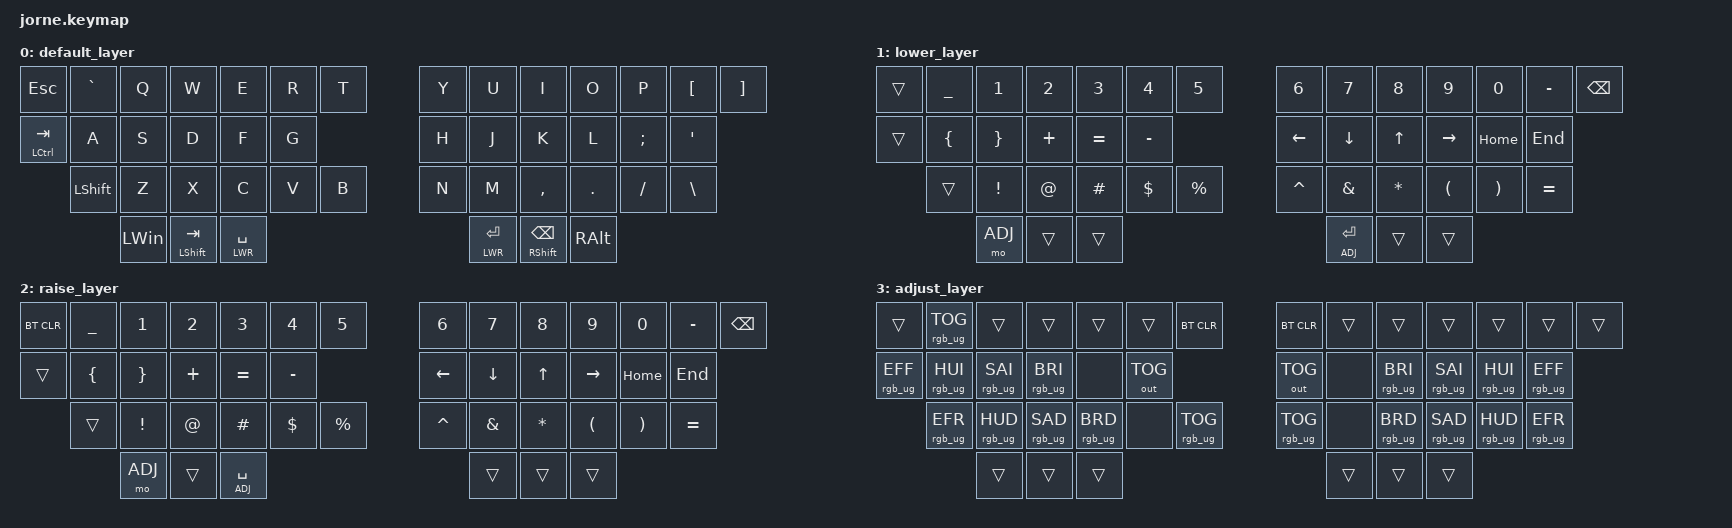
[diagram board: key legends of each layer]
/*
 * Copyright (c) 2020 The ZMK Contributors
 *
 * SPDX-License-Identifier: MIT
 */

#include <dt-bindings/zmk/outputs.h>
#include <behaviors.dtsi>
#include <dt-bindings/zmk/keys.h>
#include <dt-bindings/zmk/bt.h>
#include <dt-bindings/zmk/rgb.h>

#define DEF 0
#define LWR 1
#define RSE 2
#define ADJ 3

/ {
        keymap {
                compatible = "zmk,keymap";

                default_layer {
// -----------------------------------------------------------------------------------------
// | ESC |  ~  |  Q  |  W  |  E  |  R  |  T  |   |  Y  |  U   |  I  |  O  |  P  |  [  |  ] |
//       | CTRL|  A  |  S  |  D  |  F  |  G  |   |  H  |  J   |  K  |  L  |  ;  |  '  |
//       | SHFT|  Z  |  X  |  C  |  V  |  B  |   |  N  |  M   |  ,  |  .  |  /  |  \  |
//                         | CMD | SHFT| LWR |   | RSE | SHFT | ALT |
                        bindings = <
    &kp ESC &kp GRAVE &kp Q &kp W &kp E &kp R &kp T            &kp Y &kp U &kp I     &kp O   &kp P    &kp LBKT &kp RBKT
        &mt LCTRL TAB &kp A &kp S &kp D &kp F &kp G            &kp H &kp J &kp K     &kp L   &kp SEMI &kp SQT
            &kp LSHFT &kp Z &kp X &kp C &kp V &kp B            &kp N &kp M &kp COMMA &kp DOT &kp FSLH &kp BSLH
                    &kp LWIN &mt LSHFT TAB &lt LWR SPACE   &lt LWR RET &mt RSHFT BSPC &kp RALT
                        >;
                };
              lower_layer {
// -----------------------------------------------------------------------------------------
// |     |  _  |  1  |  2  |  3  |  4  |  5  |   |  6  |  7  |  8  |  9  |  0  |  -  | BSPC|
//       | CTRL|  {  |  }  |  +  |  =  |  -  |   | LEFT| DOWN| UP  | RGHT| HOME| END |
//       | SHFT|  !  |  @  |  #  |  $  |  %  |   |  ^  |  &  |  *  |  (  |  )  |  =  |
//                         | ADJ |     |     |   | ADJ |     | ADJ |
                        bindings = <
   &trans &kp UNDER &kp N1           &kp N2       &kp N3      &kp N4       &kp N5           &kp N6    &kp N7   &kp N8   &kp N9    &kp N0   &kp MINUS  &kp BSPC
          &trans    &kp LBRC         &kp RBRC     &kp PLUS    &kp EQUAL    &kp MINUS        &kp LEFT  &kp DOWN &kp UP   &kp RIGHT &kp HOME &kp END
          &trans    &kp EXCL         &kp AT       &kp HASH    &kp DLLR     &kp PRCNT        &kp CARET &kp AMPS &kp STAR &kp LPAR  &kp RPAR &kp EQUAL
                                                        &mo ADJ &trans &trans   &lt ADJ RET &trans &trans
                        >;
                };
                raise_layer {
// -----------------------------------------------------------------------------------------
// |     |  _  |  1  |  2  |  3  |  4  |  5  |   |  6  |  7  |  8  |  9  |  0  |  -  | BSPC|
//       | CTRL|  {  |  }  |  +  |  =  |  -  |   | LEFT| DOWN| UP  | RGHT| HOME| END |
//       | SHFT|  !  |  @  |  #  |  $  |  %  |   |  ^  |  &  |  *  |  (  |  )  |  =  |
//                         | ADJ |     | ADJ |   |     |     | ADJ |
                        bindings = <
 &bt BT_CLR &kp UNDER &kp N1           &kp N2       &kp N3      &kp N4       &kp N5           &kp N6    &kp N7   &kp N8   &kp N9    &kp N0   &kp MINUS  &kp BSPC
          &trans  &kp LBRC         &kp RBRC     &kp PLUS    &kp EQUAL    &kp MINUS        &kp LEFT  &kp DOWN &kp UP   &kp RIGHT &kp HOME &kp END
          &trans  &kp EXCL         &kp AT       &kp HASH    &kp DLLR     &kp PRCNT        &kp CARET &kp AMPS &kp STAR &kp LPAR  &kp RPAR &kp EQUAL
                                                       &mo ADJ &trans &lt ADJ SPACE   &trans &trans &trans
                        >;
                };
                adjust_layer {
// -----------------------------------------------------------------------------------------------
// | RST | RGBTOG|     |     |     |     |BTCLR|   |     |BTCLR|     |     |     | RGBTOG| RST |
// |     | MOD+  | HUE+| SAT+| VAL+|     |     |   |     |     | VAL+| SAT+| HUE+| MOD+  |
//       | MOD-  | HUE-| SAT-| VAL-|     |     |   |     |     | VAL-| SAT-| HUE-| MOD-  |
//                           |     |     |     |   |     |     |     |
                        bindings = <
   &trans &rgb_ug RGB_TOG  &trans          &trans          &trans          &trans     &bt BT_CLR    &bt BT_CLR      &trans       &trans          &trans          &trans          &trans          &trans
          &rgb_ug RGB_EFF  &rgb_ug RGB_HUI &rgb_ug RGB_SAI &rgb_ug RGB_BRI &none     &out OUT_TOG   &out OUT_TOG    &none        &rgb_ug RGB_BRI &rgb_ug RGB_SAI &rgb_ug RGB_HUI &rgb_ug RGB_EFF
          &rgb_ug RGB_EFR  &rgb_ug RGB_HUD &rgb_ug RGB_SAD &rgb_ug RGB_BRD &none   &rgb_ug RGB_TOG &rgb_ug RGB_TOG  &none        &rgb_ug RGB_BRD &rgb_ug RGB_SAD &rgb_ug RGB_HUD &rgb_ug RGB_EFR
                                                                          &trans &trans &trans         &trans &trans &trans
                        >;
                };
        };
};
